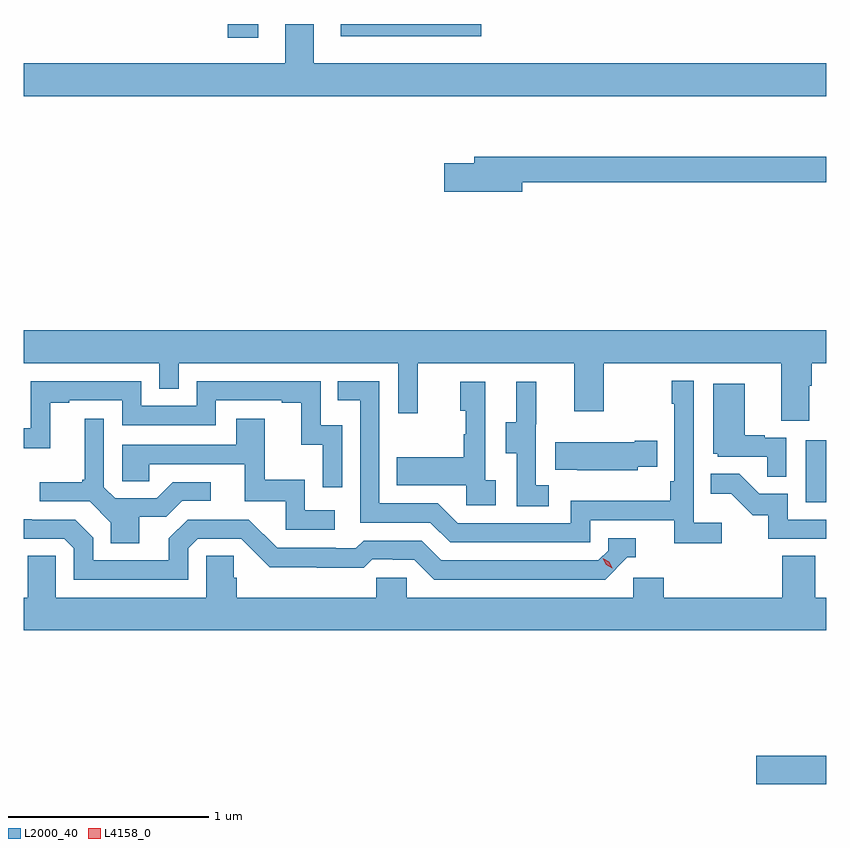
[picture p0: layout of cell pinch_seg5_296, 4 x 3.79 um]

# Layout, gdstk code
import gdstk
lib = gdstk.Library(unit=1e-6, precision=1e-09)
def R(c, l, rs):  # rectangles x0, y0, x1, y1
    for r in rs: c.add(gdstk.rectangle(r[:2], r[2:], *l))
def P(c, l, *ps):  # polygons
    for p in ps: c.add(gdstk.Polygon(p, *l))
L2000_40 = (2000, 40)
L4158_0 = (4158, 0)

pinch_seg5_296 = lib.new_cell('pinch_seg5_296')
R(pinch_seg5_296, L2000_40, [(905.262,886.63,905.611,886.772), (905.51,888.036,905.611,888.343), (902.627,890.352,902.779,890.42), (903.191,890.36,903.892,890.42)])
P(pinch_seg5_296, L2000_40, [(905.611,890.224),(903.055,890.224),(903.055,890.419),(902.915,890.419),(902.915,890.224),(901.611,890.224),(901.611,890.06),(905.611,890.06)],
  [(904.096,889.63),(905.611,889.63),(905.611,889.759),(903.857,889.759),(903.857,889.725),(903.708,889.725),(903.708,889.583),(904.096,889.583)],
  [(905.527,888.616),(905.54,888.616),(905.54,888.728),(905.611,888.728),(905.611,888.892),(901.611,888.892),(901.611,888.728),(902.286,888.728),(902.286,888.601),(902.382,888.601),(902.382,888.728),(903.477,888.728),(903.477,888.48),(903.575,888.48),(903.575,888.728),(904.355,888.728),(904.355,888.489),(904.503,888.489),(904.503,888.728),(905.387,888.728),(905.387,888.442),(905.527,888.442)],
  [(905.092,887.932),(904.95,887.932),(904.95,888.64),(904.842,888.64),(904.842,888.527),(904.854,888.527),(904.854,888.139),(904.834,888.139),(904.834,888.043),(904.338,888.043),(904.338,887.931),(903.774,887.931),(903.675,888.03),(903.384,888.03),(903.384,888.639),(903.175,888.639),(903.175,888.543),(903.288,888.543),(903.288,887.934),(903.638,887.934),(903.737,887.835),(904.434,887.835),(904.434,887.946),(904.853,887.946),(904.853,887.83),(905.092,887.83)],
  [(903.198,888.42),(903.09,888.42),(903.09,888.639),(902.472,888.639),(902.472,888.516),(902.196,888.516),(902.196,888.639),(901.644,888.639),(901.644,888.403),(901.611,888.403),(901.611,888.305),(901.741,888.305),(901.741,888.531),(901.837,888.531),(901.837,888.543),(902.1,888.543),(902.1,888.42),(902.568,888.42),(902.568,888.543),(902.897,888.543),(902.897,888.531),(902.993,888.531),(902.993,888.323),(903.102,888.323),(903.102,888.111),(903.198,888.111)],
  [(904.228,888.119),(904.164,888.119),(904.164,888.423),(904.166,888.423),(904.166,888.637),(904.067,888.637),(904.067,888.435),(904.013,888.435),(904.013,888.28),(904.068,888.28),(904.068,888.016),(904.228,888.016)],
  [(903.964,888.146),(903.912,888.146),(903.912,888.637),(903.788,888.637),(903.788,888.492),(903.814,888.492),(903.814,888.374),(903.804,888.374),(903.804,888.259),(903.469,888.259),(903.469,888.119),(903.816,888.119),(903.816,888.021),(903.964,888.021)],
  [(905.412,888.357),(905.306,888.357),(905.306,888.37),(905.206,888.37),(905.206,888.625),(905.048,888.625),(905.048,888.276),(905.07,888.276),(905.07,888.261),(905.317,888.261),(905.317,888.163),(905.412,888.163)],
  [(902.185,887.962),(902.32,887.962),(902.4,888.042),(902.542,888.042),(902.542,888.135),(902.354,888.135),(902.273,888.054),(902.067,888.054),(902.01,888.111),(902.01,888.451),(901.913,888.451),(901.913,888.148),(901.902,888.148),(901.902,888.136),(901.689,888.136),(901.689,888.039),(901.938,888.039),(902.045,887.932),(902.045,887.83),(902.185,887.83)],
  [(903.16,887.994),(903.012,887.994),(903.012,888.148),(902.813,888.148),(902.813,888.451),(902.669,888.451),(902.669,888.321),(902.1,888.321),(902.1,888.141),(902.237,888.141),(902.237,888.225),(902.711,888.225),(902.711,888.039),(902.916,888.039),(902.916,887.898),(903.16,887.898)],
  [(904.671,888.212),(904.769,888.212),(904.769,888.342),(904.658,888.342),(904.658,888.334),(904.261,888.334),(904.261,888.197),(904.369,888.197),(904.369,888.194),(904.671,888.194)],
  [(905.611,887.949),(905.421,887.949),(905.421,888.078),(905.277,888.078),(905.179,888.176),(905.035,888.176),(905.035,888.077),(905.139,888.077),(905.246,887.97),(905.323,887.97),(905.323,887.853),(905.611,887.853)],
  [(902.43,887.805),(902.478,887.853),(902.694,887.853),(902.836,887.711),(903.072,887.711),(903.072,887.709),(903.305,887.709),(903.347,887.751),(903.45,887.751),(903.45,887.748),(903.557,887.748),(903.656,887.649),(904.509,887.649),(904.62,887.76),(904.663,887.76),(904.663,887.856),(904.524,887.856),(904.524,887.793),(904.476,887.745),(903.693,887.745),(903.594,887.844),(903.305,887.844),(903.266,887.805),(903.167,887.805),(903.167,887.808),(902.874,887.808),(902.733,887.949),(902.427,887.949),(902.333,887.855),(902.333,887.745),(901.956,887.745),(901.956,887.859),(901.866,887.949),(901.65,887.949),(901.65,887.951),(901.611,887.951),(901.611,887.853),(901.812,887.853),(901.86,887.805),(901.86,887.649),(902.43,887.649)],
  [(905.611,887.56),(905.558,887.56),(905.558,887.768),(905.393,887.768),(905.393,887.56),(904.802,887.56),(904.802,887.658),(904.65,887.658),(904.65,887.56),(903.519,887.56),(903.519,887.658),(903.369,887.658),(903.369,887.56),(902.672,887.56),(902.672,887.658),(902.657,887.658),(902.657,887.768),(902.52,887.768),(902.52,887.56),(901.77,887.56),(901.77,887.768),(901.631,887.768),(901.631,887.56),(901.611,887.56),(901.611,887.396),(905.611,887.396)])
P(pinch_seg5_296, L4158_0, [(904.545,887.705),(904.514,887.724),(904.498,887.757),(904.498,887.757),(904.498,887.757),(904.529,887.738),(904.545,887.705),(904.545,887.705)])

lib.write_gds('pinch_seg5_296.gds')
